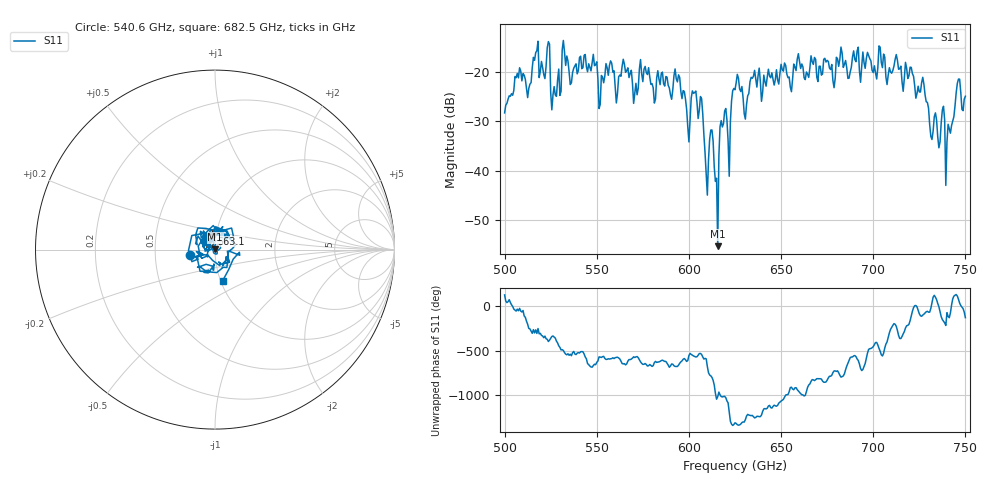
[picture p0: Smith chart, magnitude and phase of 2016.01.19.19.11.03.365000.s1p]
!Created with skrf (http://scikit-rf.org).
# GHz S RI R 50.0
!freq ReS11 ImS11
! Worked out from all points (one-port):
!   401 points, 500 GHz to 750 GHz, reference 50 ohm
!   lowest |S11| = -55.4 dB at 615.6 GHz (marker M1), VSWR 1.00, Z = 50.1 + j0.152 ohm
!   |S11| at or under -10 dB: start of sweep to end of sweep
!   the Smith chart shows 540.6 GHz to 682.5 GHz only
!   S11 on the Smith chart (normalised r, x): 540.6 GHz: 0.76, -0.05; 563.1 GHz: 0.95, +0.17; 682.5 GHz: 1.02, -0.37
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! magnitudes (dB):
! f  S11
! 500 GHz  -28.3
! 507.5 GHz  -21.2
! 513.1 GHz  -23.3
! 516.9 GHz  -16.0
! 523.1 GHz  -15.1
! 526.9 GHz  -22.9
! 531.2 GHz  -15.4
! 540.6 GHz  -17.0
! 562.5 GHz  -20.6
! 563.1 GHz  -20.8
! 593.8 GHz  -22.0
! 599.4 GHz  -31.1
! 606.2 GHz  -25.0
! 609.4 GHz  -40.6
! 611.9 GHz  -31.8
! 615.6 GHz  -55.4
! 618.1 GHz  -31.1
! 621.9 GHz  -41.2
! 625 GHz  -23.6
! 630.6 GHz  -29.6
! 634.4 GHz  -21.3
! 656.2 GHz  -21.4
! 682.5 GHz  -14.9
! 687.5 GHz  -20.0
! 718.8 GHz  -21.3
! 740.6 GHz  -30.6
! 745.6 GHz  -22.3
! 750 GHz  -24.9
